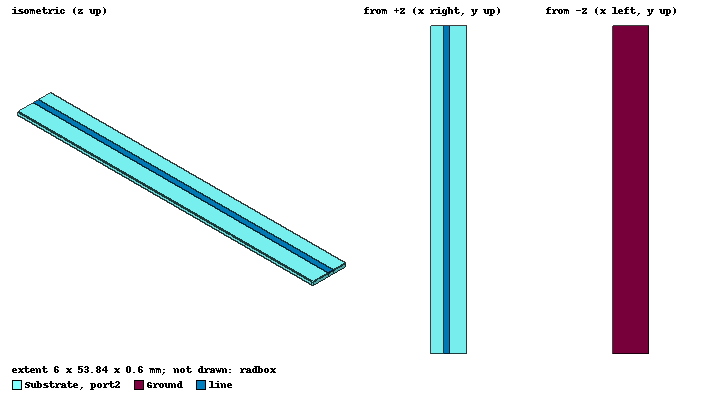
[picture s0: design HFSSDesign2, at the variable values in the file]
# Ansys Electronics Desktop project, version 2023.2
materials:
  vacuum: permittivity=1
  Neltec NX9240 (tm): permittivity=2.4 dielectric_loss_tangent=0.0016
  air: permittivity=1.0006 permeability=1.0000004
  polyethylene: permittivity=2.4 dielectric_loss_tangent=0.001

design HFSSDesign2 (HFSS, HFSS Terminal Network, model units mm)
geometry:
  Ground = rectangle(corner=(0mm, 0mm, 0mm), x_size=6mm, y_size=53.838886mm)
  Substrate [polyethylene] = box(corner=(0mm, 0mm, 0mm), size=(6mm, 53.838886mm, 0.6mm))
  line = rectangle(corner=(2.207mm, 0mm, 0.6mm), x_size=0.972mm, y_size=53.838886mm)
  port1 = rectangle(corner=(2.207mm, 0mm, 0.6mm), z_size=-0.6mm, x_size=0.972mm)
  port2 = rectangle(corner=(2.207mm, 53.838886mm, 0.6mm), z_size=-0.6mm, x_size=0.972mm)
  radbox [air] = box(corner=(-5mm, -5mm, -5mm), size=(30mm, 60mm, 30mm))
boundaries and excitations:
  PerfE1: Perfect E Objects=[Ground, line]
  Rad1: Radiation Objects=radbox
  1: Lumped Port Objects=port1 LumpedPortType=Modal Modes{Mode1{IntLine{(2.693, 0, 0.6) -> (2.693, 0, 0)} CharImp=Zpi}} Impedance=50ohm
  2: Lumped Port Objects=port2 LumpedPortType=Modal Modes{Mode1{IntLine{(2.693, 53.838886, 0.6) -> (2.693, 53.838886, 0)} CharImp=Zpi}} Impedance=100ohm
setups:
  Setup1: HfssDriven Frequency=1GHz MaxDeltaS=0.02 MaximumPasses=6 MinimumPasses=1 MinimumConvergedPasses=1 PercentRefinement=30 BasisOrder=1 PortAccuracy=2 DrivenSolverType="Direct Solver"
    sweep Sweep: 0.5GHz to 2GHz, 401 points; Type=Fast SaveFields
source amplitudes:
  1:1: 1V 0deg
  2:1: 0V 0deg
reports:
  reflection coefficient: dB(S(1,1)) vs Freq on Setup1 : Sweep
  S11 reel: re(S(1,1)) vs Freq on Setup1 : Sweep
  S11 img: im(S(1,1)) vs Freq on Setup1 : Sweep
  S21 reel: re(S(2,1)) vs Freq on Setup1 : Sweep
  S21 img: im(S(2,1)) vs Freq on Setup1 : Sweep
  Port Zo Plot 1: re(Zo(1)), re(Zo(2)) vs Freq on Setup1 : Sweep
  Terminal S Parameter Plot 1: dB(St(2,1)) vs Freq on Setup1 : Sweep
